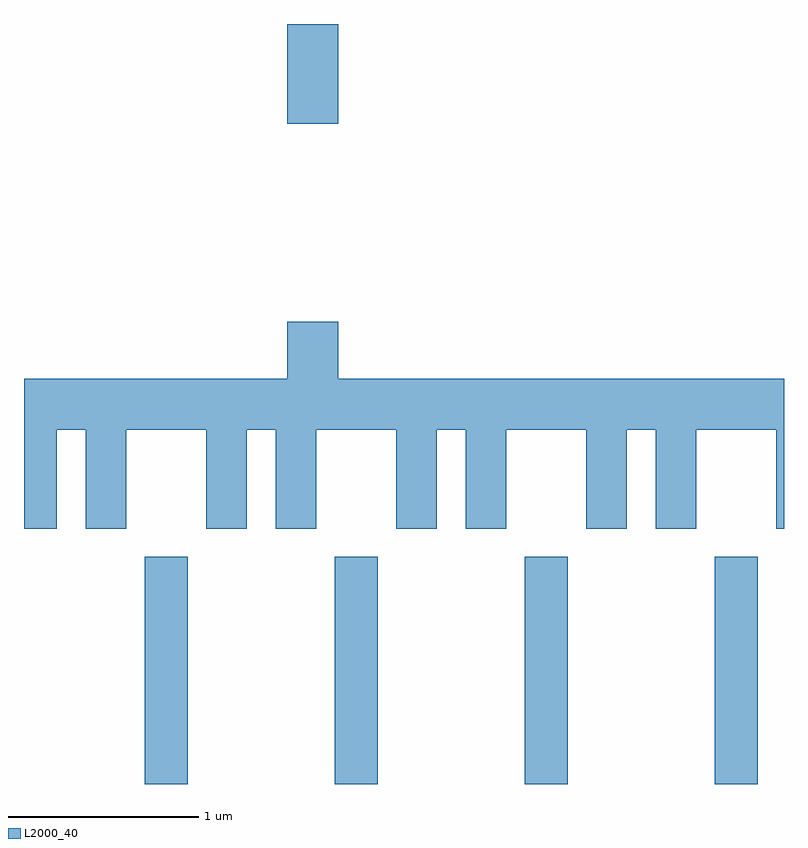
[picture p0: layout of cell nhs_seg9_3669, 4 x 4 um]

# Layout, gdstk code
import gdstk
lib = gdstk.Library(unit=1e-6, precision=1e-09)
def R(c, l, rs):  # rectangles x0, y0, x1, y1
    for r in rs: c.add(gdstk.rectangle(r[:2], r[2:], *l))
def A(c, l, x, y, w, h, nx, ny, dx, dy):  # array of equal rectangles
    R(c, l, [(x+i*dx, y+j*dy, x+i*dx+w, y+j*dy+h) for i in range(nx) for j in range(ny)])
def P(c, l, *ps):  # polygons
    for p in ps: c.add(gdstk.Polygon(p, *l))
L2000_40 = (2000, 40)

nhs_seg9_3669 = lib.new_cell('nhs_seg9_3669')
A(nhs_seg9_3669, L2000_40, 294.246, 1954.432, 0.228, 1.197, 4, 1, 1, 0)
R(nhs_seg9_3669, L2000_40, [(294.996,1957.906,295.264,1958.432)])
P(nhs_seg9_3669, L2000_40, [(293.784,1956.296),(293.936,1956.296),(293.936,1955.776),(294.149,1955.776),(294.149,1956.296),(294.571,1956.296),(294.571,1955.776),(294.784,1955.776),(294.784,1956.296),(294.936,1956.296),(294.936,1955.776),(295.149,1955.776),(295.149,1956.296),(295.571,1956.296),(295.571,1955.776),(295.784,1955.776),(295.784,1956.296),(295.936,1956.296),(295.936,1955.776),(296.149,1955.776),(296.149,1956.296),(296.571,1956.296),(296.571,1955.776),(296.784,1955.776),(296.784,1956.296),(296.936,1956.296),(296.936,1955.776),(297.149,1955.776),(297.149,1956.296),(297.571,1956.296),(297.571,1955.776),(297.611,1955.776),(297.611,1956.564),(295.264,1956.564),(295.264,1956.864),(294.996,1956.864),(294.996,1956.564),(293.611,1956.564),(293.611,1955.776),(293.784,1955.776)])

lib.write_gds('nhs_seg9_3669.gds')
